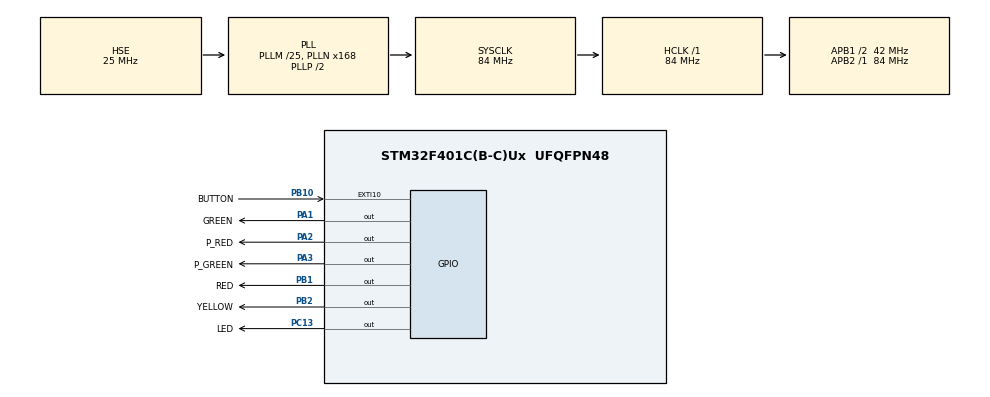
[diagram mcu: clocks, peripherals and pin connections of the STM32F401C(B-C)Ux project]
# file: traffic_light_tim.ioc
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Mcu.Family=STM32F4
Mcu.Name=STM32F401C(B-C)Ux
Mcu.Package=UFQFPN48
NVIC.EXTI15_10_IRQn=true\:0\:0\:false\:false\:true\:true\:true\:true
NVIC.PriorityGroup=NVIC_PRIORITYGROUP_4
NVIC.TIM1_BRK_TIM9_IRQn=true\:0\:0\:false\:false\:true\:true\:true\:true
PA1.GPIO_Label=GREEN
PA1.PinState=GPIO_PIN_SET
PA1.Signal=GPIO_Output
PA13.Mode=Serial_Wire
PA13.Signal=SYS_JTMS-SWDIO
PA14.Mode=Serial_Wire
PA14.Signal=SYS_JTCK-SWCLK
PA2.GPIO_Label=P_RED
PA2.PinState=GPIO_PIN_SET
PA2.Signal=GPIO_Output
PA3.GPIO_Label=P_GREEN
PA3.Signal=GPIO_Output
PB1.GPIO_Label=RED
PB1.Signal=GPIO_Output
PB10.GPIO_Label=BUTTON
PB10.GPIO_ModeDefaultEXTI=GPIO_MODE_IT_RISING
PB10.Signal=GPXTI10
PB2.GPIO_Label=YELLOW
PB2.Signal=GPIO_Output
PC13-ANTI_TAMP.GPIO_Label=LED
PC13-ANTI_TAMP.PinState=GPIO_PIN_SET
PC13-ANTI_TAMP.Signal=GPIO_Output
PH0\ -\ OSC_IN.Mode=HSE-External-Oscillator
PH0\ -\ OSC_IN.Signal=RCC_OSC_IN
PH1\ -\ OSC_OUT.Mode=HSE-External-Oscillator
PH1\ -\ OSC_OUT.Signal=RCC_OSC_OUT
ProjectManager.HeapSize=0x200
ProjectManager.StackSize=0x400
ProjectManager.TargetToolchain=STM32CubeIDE
RCC.48MHZClocksFreq_Value=42000000
RCC.AHBFreq_Value=84000000
RCC.APB1CLKDivider=RCC_HCLK_DIV2
RCC.APB1Freq_Value=42000000
RCC.APB1TimFreq_Value=84000000
RCC.APB2Freq_Value=84000000
RCC.APB2TimFreq_Value=84000000
RCC.CortexFreq_Value=84000000
RCC.HCLKFreq_Value=84000000
RCC.HSE_VALUE=25000000
RCC.HSI_VALUE=16000000
RCC.LSE_VALUE=32768
RCC.PLLM=25
RCC.PLLN=168
RCC.PLLSourceVirtual=RCC_PLLSOURCE_HSE
RCC.SYSCLKFreq_VALUE=84000000
RCC.SYSCLKSource=RCC_SYSCLKSOURCE_PLLCLK
RCC.VCOOutputFreq_Value=168000000
TIM9.AutoReloadPreload=TIM_AUTORELOAD_PRELOAD_DISABLE
TIM9.Period=65536-1
TIM9.Prescaler=42000-1
VP_TIM9_VS_ClockSourceINT.Mode=Internal
board=custom

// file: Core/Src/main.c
/* USER CODE BEGIN Header */
/**
  ******************************************************************************
  * @file           : main.c
  * @brief          : Main program body
  ******************************************************************************
  * @attention
  *
  * Copyright (c) 2022 STMicroelectronics.
  * All rights reserved.
  *
  * This software is licensed under terms that can be found in the LICENSE file
  * in the root directory of this software component.
  * If no LICENSE file comes with this software, it is provided AS-IS.
  *
  ******************************************************************************
  */
/* USER CODE END Header */
#include "main.h"

/* USER CODE BEGIN PTD */
typedef enum{
	green,
	wait_yellow,
	yellow,
	wait_red,
	red,
	wait_red_yellow,
	red_yellow,
	wait_green,
	default_state
}FSM_states;
FSM_states state = default_state;
/* USER CODE END PTD */

/* USER CODE BEGIN PD */
#define delay_s(_second) (65535 - (1999)*(_second))

/* USER CODE END PD */

TIM_HandleTypeDef htim9;

void SystemClock_Config(void);
static void MX_GPIO_Init(void);
static void MX_TIM9_Init(void);

int main(void)
{

  /* MCU Configuration--------------------------------------------------------*/

  /* Reset of all peripherals, Initializes the Flash interface and the Systick. */
  HAL_Init();

  /* Configure the system clock */
  SystemClock_Config();

  /* Initialize all configured peripherals */
  MX_GPIO_Init();
  MX_TIM9_Init();
  /* USER CODE BEGIN 2 */
  HAL_TIM_Base_Start_IT(&htim9);
  /* USER CODE END 2 */

  /* Infinite loop */
  /* USER CODE BEGIN WHILE */
  while (1)
  {
	  switch(state)
	  {
	  case(green):
			  HAL_GPIO_WritePin(RED_GPIO_Port, RED_Pin, GPIO_PIN_RESET);
	  	  	  HAL_GPIO_WritePin(YELLOW_GPIO_Port, YELLOW_Pin, GPIO_PIN_RESET);
			  HAL_GPIO_WritePin(GREEN_GPIO_Port, GREEN_Pin, GPIO_PIN_SET);
			  HAL_GPIO_WritePin(P_RED_GPIO_Port, P_RED_Pin, GPIO_PIN_SET);
			  HAL_GPIO_WritePin(P_GREEN_GPIO_Port, P_GREEN_Pin, GPIO_PIN_RESET);

			  state = default_state;
			  break;
	  case(yellow):
			  HAL_GPIO_WritePin(GREEN_GPIO_Port, GREEN_Pin, GPIO_PIN_RESET);
			  HAL_GPIO_WritePin(RED_GPIO_Port, RED_Pin, GPIO_PIN_RESET);
	  	  	  HAL_GPIO_WritePin(YELLOW_GPIO_Port, YELLOW_Pin, GPIO_PIN_SET);

	  	  	  state = wait_red;
	  	  	__HAL_TIM_SET_COUNTER(&htim9, delay_s(4));

			  break;
	  case(red):
			  HAL_GPIO_WritePin(YELLOW_GPIO_Port, YELLOW_Pin, GPIO_PIN_RESET);
	  	  	  HAL_GPIO_WritePin(RED_GPIO_Port, RED_Pin, GPIO_PIN_SET);

	  	  	  HAL_GPIO_WritePin(P_RED_GPIO_Port, P_RED_Pin, GPIO_PIN_RESET);
			  HAL_GPIO_WritePin(P_GREEN_GPIO_Port, P_GREEN_Pin, GPIO_PIN_SET);

			  state = wait_red_yellow;
			  __HAL_TIM_SET_COUNTER(&htim9, delay_s(5));

			  break;
	  case(red_yellow):
			  HAL_GPIO_WritePin(P_RED_GPIO_Port, P_RED_Pin, GPIO_PIN_SET);
	  	  	  HAL_GPIO_WritePin(P_GREEN_GPIO_Port, P_GREEN_Pin, GPIO_PIN_RESET);

	  	  	  HAL_GPIO_WritePin(YELLOW_GPIO_Port, YELLOW_Pin, GPIO_PIN_SET);

	  	  	  state = wait_green;
	  	  	__HAL_TIM_SET_COUNTER(&htim9, delay_s(3));
			  break;
	  default:
		  break;
	  }

    /* USER CODE END WHILE */

  }
}

void SystemClock_Config(void)
{
  RCC_OscInitTypeDef RCC_OscInitStruct = {0};
  RCC_ClkInitTypeDef RCC_ClkInitStruct = {0};

  /** Configure the main internal regulator output voltage
  */
  __HAL_RCC_PWR_CLK_ENABLE();
  __HAL_PWR_VOLTAGESCALING_CONFIG(PWR_REGULATOR_VOLTAGE_SCALE2);

  /** Initializes the RCC Oscillators according to the specified parameters
  * in the RCC_OscInitTypeDef structure.
  */
  RCC_OscInitStruct.OscillatorType = RCC_OSCILLATORTYPE_HSE;
  RCC_OscInitStruct.HSEState = RCC_HSE_ON;
  RCC_OscInitStruct.PLL.PLLState = RCC_PLL_ON;
  RCC_OscInitStruct.PLL.PLLSource = RCC_PLLSOURCE_HSE;
  RCC_OscInitStruct.PLL.PLLM = 25;
  RCC_OscInitStruct.PLL.PLLN = 168;
  RCC_OscInitStruct.PLL.PLLP = RCC_PLLP_DIV2;
  RCC_OscInitStruct.PLL.PLLQ = 4;
  if (HAL_RCC_OscConfig(&RCC_OscInitStruct) != HAL_OK)
  {
    Error_Handler();
  }

  /** Initializes the CPU, AHB and APB buses clocks
  */
  RCC_ClkInitStruct.ClockType = RCC_CLOCKTYPE_HCLK|RCC_CLOCKTYPE_SYSCLK
                              |RCC_CLOCKTYPE_PCLK1|RCC_CLOCKTYPE_PCLK2;
  RCC_ClkInitStruct.SYSCLKSource = RCC_SYSCLKSOURCE_PLLCLK;
  RCC_ClkInitStruct.AHBCLKDivider = RCC_SYSCLK_DIV1;
  RCC_ClkInitStruct.APB1CLKDivider = RCC_HCLK_DIV2;
  RCC_ClkInitStruct.APB2CLKDivider = RCC_HCLK_DIV1;

  if (HAL_RCC_ClockConfig(&RCC_ClkInitStruct, FLASH_LATENCY_2) != HAL_OK)
  {
    Error_Handler();
  }
}

static void MX_TIM9_Init(void)
{

  TIM_ClockConfigTypeDef sClockSourceConfig = {0};

  htim9.Instance = TIM9;
  htim9.Init.Prescaler = 42000-1;
  htim9.Init.CounterMode = TIM_COUNTERMODE_UP;
  htim9.Init.Period = 65536-1;
  htim9.Init.ClockDivision = TIM_CLOCKDIVISION_DIV1;
  htim9.Init.AutoReloadPreload = TIM_AUTORELOAD_PRELOAD_DISABLE;
  if (HAL_TIM_Base_Init(&htim9) != HAL_OK)
  {
    Error_Handler();
  }
  sClockSourceConfig.ClockSource = TIM_CLOCKSOURCE_INTERNAL;
  if (HAL_TIM_ConfigClockSource(&htim9, &sClockSourceConfig) != HAL_OK)
  {
    Error_Handler();
  }

}

static void MX_GPIO_Init(void)
{
  GPIO_InitTypeDef GPIO_InitStruct = {0};

  /* GPIO Ports Clock Enable */
  __HAL_RCC_GPIOC_CLK_ENABLE();
  __HAL_RCC_GPIOH_CLK_ENABLE();
  __HAL_RCC_GPIOA_CLK_ENABLE();
  __HAL_RCC_GPIOB_CLK_ENABLE();

  /*Configure GPIO pin Output Level */
  HAL_GPIO_WritePin(LED_GPIO_Port, LED_Pin, GPIO_PIN_SET);

  /*Configure GPIO pin Output Level */
  HAL_GPIO_WritePin(GPIOA, GREEN_Pin|P_RED_Pin, GPIO_PIN_SET);

  /*Configure GPIO pin Output Level */
  HAL_GPIO_WritePin(P_GREEN_GPIO_Port, P_GREEN_Pin, GPIO_PIN_RESET);

  /*Configure GPIO pin Output Level */
  HAL_GPIO_WritePin(GPIOB, RED_Pin|YELLOW_Pin, GPIO_PIN_RESET);

  /*Configure GPIO pin : LED_Pin */
  GPIO_InitStruct.Pin = LED_Pin;
  GPIO_InitStruct.Mode = GPIO_MODE_OUTPUT_PP;
  GPIO_InitStruct.Pull = GPIO_NOPULL;
  GPIO_InitStruct.Speed = GPIO_SPEED_FREQ_LOW;
  HAL_GPIO_Init(LED_GPIO_Port, &GPIO_InitStruct);

  /*Configure GPIO pins : GREEN_Pin P_RED_Pin P_GREEN_Pin */
  GPIO_InitStruct.Pin = GREEN_Pin|P_RED_Pin|P_GREEN_Pin;
  GPIO_InitStruct.Mode = GPIO_MODE_OUTPUT_PP;
  GPIO_InitStruct.Pull = GPIO_NOPULL;
  GPIO_InitStruct.Speed = GPIO_SPEED_FREQ_LOW;
  HAL_GPIO_Init(GPIOA, &GPIO_InitStruct);

  /*Configure GPIO pins : RED_Pin YELLOW_Pin */
  GPIO_InitStruct.Pin = RED_Pin|YELLOW_Pin;
  GPIO_InitStruct.Mode = GPIO_MODE_OUTPUT_PP;
  GPIO_InitStruct.Pull = GPIO_NOPULL;
  GPIO_InitStruct.Speed = GPIO_SPEED_FREQ_LOW;
  HAL_GPIO_Init(GPIOB, &GPIO_InitStruct);

  /*Configure GPIO pin : BUTTON_Pin */
  GPIO_InitStruct.Pin = BUTTON_Pin;
  GPIO_InitStruct.Mode = GPIO_MODE_IT_RISING;
  GPIO_InitStruct.Pull = GPIO_NOPULL;
  HAL_GPIO_Init(BUTTON_GPIO_Port, &GPIO_InitStruct);

  /* EXTI interrupt init*/
  HAL_NVIC_SetPriority(EXTI15_10_IRQn, 0, 0);
  HAL_NVIC_EnableIRQ(EXTI15_10_IRQn);

}

/* USER CODE BEGIN 4 */
void HAL_GPIO_EXTI_Callback(uint16_t GPIO_Pin)
{
	if(state == default_state)
	{
		state = wait_yellow;
		__HAL_TIM_SET_COUNTER(&htim9, delay_s(4));
	}
}

void HAL_TIM_PeriodElapsedCallback(TIM_HandleTypeDef *htim)
{
	switch(state)
	{
	case(wait_yellow):
			state = yellow;
			break;
	case(wait_red):
			state = red;
			break;
	case(wait_red_yellow):
			state = red_yellow;
			break;
	case(wait_green):
			state = green;
			break;
	default:
		break;
	}

    //__HAL_TIM_SET_AUTORELOAD(&htim9, 49999);
    //__HAL_TIM_SET_COUNTER(&htim9, 49999);

}
/* USER CODE END 4 */

void Error_Handler(void)
{
  __disable_irq();
  while (1)
  {
  }
}
